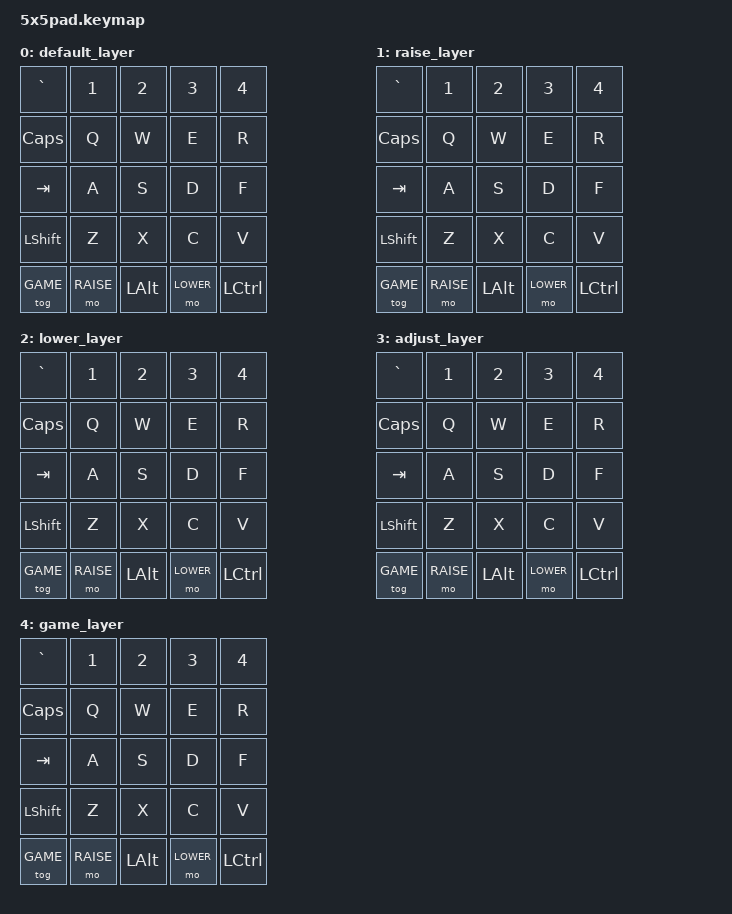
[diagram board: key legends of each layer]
/*
 * Copyright (c) 2020 The ZMK Contributors
 *
 * SPDX-License-Identifier: MIT
 */

 #include <behaviors.dtsi>
 #include <dt-bindings/zmk/keys.h>
 #include <dt-bindings/zmk/bt.h>
 #include <dt-bindings/zmk/rgb.h>
 #include <dt-bindings/zmk/ext_power.h>
 #include <dt-bindings/zmk/outputs.h>

 #define DEFAULT 0
 #define LOWER  1
 #define RAISE  2
 #define ADJUST 3
 #define GAME 4


/* NOTE: At the time of the creation of this keymap, there are no specified codes for 'eisuu' and 'kana' input in ZMK.
However, 'LANG1' and 'LANG2' are fully-functioning candidates for 'kana' and 'eisuu' input respectively.
As such, those are in use within the default layer at this time.*/

/ {
       keymap {
              compatible = "zmk,keymap";
 
              default_layer {
                     bindings = <
       &kp GRAVE   &kp N1  &kp N2   &kp N3   &kp N4    
       &kp CAPS    &kp Q   &kp W    &kp E    &kp R     
       &kp TAB     &kp A   &kp S    &kp D    &kp F     
       &kp LSHFT   &kp Z   &kp X    &kp C    &kp V     
       &tog GAME   &mo RAISE &kp LALT &mo LOWER &kp LCTRL                       >;
              };

/* Keymap 0: Basic QWERTY layer
 *
 * ,---------------------------------------------.           ,---------------------------------------------.
 * |   `    |  1  |  2  |  3  |  4  |  5  |  -   |           |  =  |  6  |  7  |  8  |  9  |  0  | Backsp |
 * |--------+-----+-----+-----+-----+------------|           |------+-----+-----+-----+-----+-----+--------|
 * |  Upcas |  Q  |  W  |  E  |  R  |  T  |  {[  |           |  ]}   |  Y  |  U  |  I  |  O  |  P  |   '    |
 * |--------+-----+-----+-----+-----+-----|------|           |------|-----+-----+-----+-----+-----+--------|
 * |  Tab   |  A  |  S  |  D  |  F  |  G  | mute |           | stop |  H  |  J  |  K  |  L  |  ;  |  Enter |
 * |--------+-----+-----+-----+-----+-----|------|           |------|-----+-----+-----+-----+-----+--------|
 * | LShift |  Z  |  X  |  C  |  V  |  B  | vol- |           | vol+ |  N  |  M  |  ,  |  .  |  /  |  \     |
 * `--------+-----+-----+-----+-----+------------'           `------------+-----+-----+-----+-----+--------'
 *  | fn(4)   |fn(2)| Alt |fn(1)|ctrl | win | spac |           | ESC  |fn(2)|ctrl |Left |Down | Up  | Right |
 *  `--------------------------------------------'           '--------------------------------------------'
 *
 *                                 ,-------------.           ,-------------.
 *                                 | mute | vol- |           | vol+ | stop |
 *                                 |------|------|           |------|------|
 *                                 | spac | win  |           | Fn(2)| ESC  |
 *                                 '------'------'           '------'------'
 *
 */



              raise_layer {
                     bindings = <
       &kp GRAVE   &kp N1  &kp N2   &kp N3   &kp N4    
       &kp CAPS    &kp Q   &kp W    &kp E    &kp R     
       &kp TAB     &kp A   &kp S    &kp D    &kp F     
       &kp LSHFT   &kp Z   &kp X    &kp C    &kp V     
       &tog GAME   &mo RAISE &kp LALT &mo LOWER &kp LCTRL                       >;
                     >;
              };


/*
 *
 *
 * ,----------------------------------------------------.      ,--------------------------------------------------------.
 * |        | F1  | F2  | F3  | F4  | F5      |         |      |       | F6    | F7     | F8     | F9     | F10  |      |
 * |--------+-----+-----+-----+-----+-------------------|      |-------+-------+--------+--------+--------+------+------|
 * |        | F11 | F12 |     |     |         |    (    |      |  )    |RGB_TOG|RGB_MOD |RGB_RMOD| RGB_M_P|      |      |
 * |--------+-----+-----+-----+-----+---------|---------|      |-------+-------+--------+--------+--------+------+------|
 * |        |     |     |     |     |         |         |      |       |RGB_HUD|RGB_HUI |RGB_VAD | RGB_VAI|      |      |
 * |--------+-----+-----+-----+-----+---------|---------|      |-------+-------+--------+--------+--------+------+------|
 * |        |     |     |     |     | KC_PWR  | KC_SLEP |      |       |RGB_SAD|RGB_SAI |RGB_SPD | RGB_SPI|      |      |
 * `--------+-----+-----+-----+-----+-------------------|      |-------+-------+--------+--------+--------+------+------'
 *  |       |     |     |     |     |KC_POWER | KC_WAKE |      |       |       |        |        |        |      |      |
 *  `---------------------------------------------------'      '--------------------------------------------------------'
 * 
 *                                     ,----------------.      ,-------------.
 *                                     | KC_PWR |KC_SLEP|      |      |      |
 *                                     |--------|-------|      |------|------|
 *                                     |        |KC_WAKE|      |      |      |
 *                                     '--------'-------'      '------'------'
 *
 *
*/


              lower_layer {
                     bindings = <
       &kp GRAVE   &kp N1  &kp N2   &kp N3   &kp N4    
       &kp CAPS    &kp Q   &kp W    &kp E    &kp R     
       &kp TAB     &kp A   &kp S    &kp D    &kp F     
       &kp LSHFT   &kp Z   &kp X    &kp C    &kp V     
       &tog GAME   &mo RAISE &kp LALT &mo LOWER &kp LCTRL                       >;
                     >;
              };



              adjust_layer {
                     bindings = <
       &kp GRAVE   &kp N1  &kp N2   &kp N3   &kp N4    
       &kp CAPS    &kp Q   &kp W    &kp E    &kp R     
       &kp TAB     &kp A   &kp S    &kp D    &kp F     
       &kp LSHFT   &kp Z   &kp X    &kp C    &kp V     
       &tog GAME   &mo RAISE &kp LALT &mo LOWER &kp LCTRL                       >;
                     >;
              };

              game_layer {
                     bindings = <
       &kp GRAVE   &kp N1  &kp N2   &kp N3   &kp N4    
       &kp CAPS    &kp Q   &kp W    &kp E    &kp R     
       &kp TAB     &kp A   &kp S    &kp D    &kp F     
       &kp LSHFT   &kp Z   &kp X    &kp C    &kp V     
       &tog GAME   &mo RAISE &kp LALT &mo LOWER &kp LCTRL                       >;
                     >;
              };




       };
};
